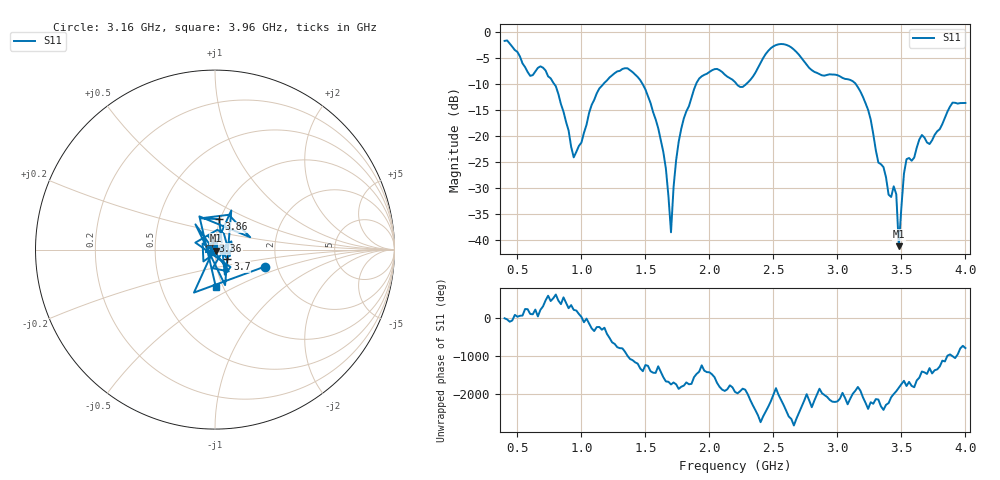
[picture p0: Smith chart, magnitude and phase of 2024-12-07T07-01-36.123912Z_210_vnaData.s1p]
!Created with skrf (http://scikit-rf.org).
# Hz S RI R 50.0
!freq ReS11 ImS11
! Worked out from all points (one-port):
!   181 points, 400 MHz to 4 GHz, reference 50 ohm
!   lowest |S11| = -41.2 dB at 3.48 GHz (marker M1), VSWR 1.02, Z = 50.7 - j0.528 ohm
!   |S11| at or under -10 dB: 786.8 MHz to 1.173 GHz (386 MHz wide, 39.4 % of centre); 1.477 GHz to 1.897 GHz (419.5 MHz wide, 24.9 % of centre); 3.143 GHz to end of sweep (the widest 3 of 4)
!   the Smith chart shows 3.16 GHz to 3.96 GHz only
!   S11 on the Smith chart (normalised r, x): 3.16 GHz: 1.72, -0.36; 3.36 GHz: 0.98, +0.10; 3.7 GHz: 1.14, -0.12; 3.86 GHz: 0.99, +0.35; 3.96 GHz: 0.93, -0.40
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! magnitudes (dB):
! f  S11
! 400 MHz  -1.7
! 600 MHz  -8.5
! 720 MHz  -7.4
! 860 MHz  -15.3
! 940 MHz  -24.1
! 1.14 GHz  -10.9
! 1.3 GHz  -7.5
! 1.54 GHz  -13.7
! 1.64 GHz  -23.1
! 1.7 GHz  -38.6
! 1.72 GHz  -29.9
! 1.76 GHz  -21.1
! 1.92 GHz  -9.0
! 2.2 GHz  -9.6
! 2.5 GHz  -2.8
! 2.66 GHz  -3.4
! 3.1 GHz  -9.2
! 3.16 GHz  -10.6
! 3.36 GHz  -26.0
! 3.4 GHz  -31.3
! 3.46 GHz  -31.2
! 3.48 GHz  -41.2
! 3.52 GHz  -27.3
! 3.56 GHz  -24.3
! 3.7 GHz  -21.3
! 3.86 GHz  -15.3
! 3.96 GHz  -13.7
! 4 GHz  -13.7
